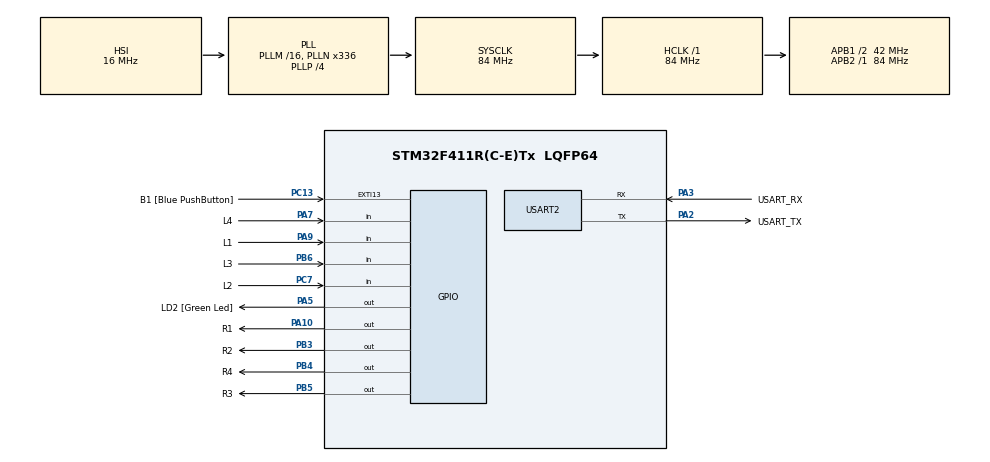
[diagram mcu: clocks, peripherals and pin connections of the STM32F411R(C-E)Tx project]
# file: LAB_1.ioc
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Mcu.Family=STM32F4
Mcu.Name=STM32F411R(C-E)Tx
Mcu.Package=LQFP64
NVIC.PriorityGroup=NVIC_PRIORITYGROUP_0
PA10.GPIO_Label=R1
PA10.Signal=GPIO_Output
PA13.GPIO_Label=TMS
PA13.Mode=Serial_Wire
PA13.Signal=SYS_JTMS-SWDIO
PA14.GPIO_Label=TCK
PA14.Mode=Serial_Wire
PA14.Signal=SYS_JTCK-SWCLK
PA2.GPIO_Label=USART_TX
PA2.Mode=Asynchronous
PA2.Signal=USART2_TX
PA3.GPIO_Label=USART_RX
PA3.Mode=Asynchronous
PA3.Signal=USART2_RX
PA5.GPIO_Label=LD2 [Green Led]
PA5.Signal=GPIO_Output
PA7.GPIO_Label=L4
PA7.GPIO_PuPd=GPIO_PULLUP
PA7.Signal=GPIO_Input
PA9.GPIO_Label=L1
PA9.GPIO_PuPd=GPIO_PULLUP
PA9.Signal=GPIO_Input
PB3.GPIO_Label=R2
PB3.Signal=GPIO_Output
PB4.GPIO_Label=R4
PB4.Signal=GPIO_Output
PB5.GPIO_Label=R3
PB5.Signal=GPIO_Output
PB6.GPIO_Label=L3
PB6.GPIO_PuPd=GPIO_PULLUP
PB6.Signal=GPIO_Input
PC13-ANTI_TAMP.GPIO_Label=B1 [Blue PushButton]
PC13-ANTI_TAMP.GPIO_ModeDefaultEXTI=GPIO_MODE_IT_FALLING
PC13-ANTI_TAMP.Signal=GPXTI13
PC14-OSC32_IN.Mode=LSE-External-Oscillator
PC14-OSC32_IN.Signal=RCC_OSC32_IN
PC15-OSC32_OUT.Mode=LSE-External-Oscillator
PC15-OSC32_OUT.Signal=RCC_OSC32_OUT
PC7.GPIO_Label=L2
PC7.GPIO_PuPd=GPIO_PULLUP
PC7.Signal=GPIO_Input
PH0\ -\ OSC_IN.Mode=HSE-External-Clock-Source
PH0\ -\ OSC_IN.Signal=RCC_OSC_IN
PH1\ -\ OSC_OUT.Mode=HSE-External-Clock-Source
PH1\ -\ OSC_OUT.Signal=RCC_OSC_OUT
ProjectManager.HeapSize=0x200
ProjectManager.StackSize=0x400
ProjectManager.TargetToolchain=STM32CubeIDE
RCC.48MHZClocksFreq_Value=84000000
RCC.AHBFreq_Value=84000000
RCC.APB1CLKDivider=RCC_HCLK_DIV2
RCC.APB1Freq_Value=42000000
RCC.APB1TimFreq_Value=84000000
RCC.APB2Freq_Value=84000000
RCC.APB2TimFreq_Value=84000000
RCC.CortexFreq_Value=84000000
RCC.FLatency-AdvancedSettings=FLASH_LATENCY_2
RCC.HCLKFreq_Value=84000000
RCC.HSE_VALUE=8000000
RCC.HSI_VALUE=16000000
RCC.PLLN=336
RCC.PLLP=RCC_PLLP_DIV4
RCC.SYSCLKFreq_VALUE=84000000
RCC.SYSCLKSource=RCC_SYSCLKSOURCE_PLLCLK
RCC.VCOOutputFreq_Value=336000000
USART2.VirtualMode=VM_ASYNC
board=NUCLEO-F411RE

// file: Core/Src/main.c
/* USER CODE BEGIN Header */
/**
  ******************************************************************************
  * @file           : main.c
  * @brief          : Main program body
  ******************************************************************************
  * @attention
  *
  * Copyright (c) 2023 STMicroelectronics.
  * All rights reserved.
  *
  * This software is licensed under terms that can be found in the LICENSE file
  * in the root directory of this software component.
  * If no LICENSE file comes with this software, it is provided AS-IS.
  *
  ******************************************************************************
  */
/* USER CODE END Header */
#include "main.h"

UART_HandleTypeDef huart2;

/* USER CODE BEGIN PV */
typedef struct _PortPin
{
		GPIO_TypeDef*PORT;
		uint16_t PIN;
}PortPin;

PortPin R[4] =
{
		{GPIOA,GPIO_PIN_10}, //IN PA10 R1
		{GPIOB,GPIO_PIN_3},	//IN PB3 R2
		{GPIOB,GPIO_PIN_5}, //IN PB5 R3
		{GPIOB,GPIO_PIN_4}, //IN PB4 R4

};

PortPin L[4] =
{
		{GPIOA,GPIO_PIN_9}, //IN PA9 L1
		{GPIOC,GPIO_PIN_7},	//IN PC7 L2
		{GPIOB,GPIO_PIN_6}, //IN PB6 L3
		{GPIOA,GPIO_PIN_7}, //IN PA7 L4
};

uint16_t ButtonMatrix = 0;
/* USER CODE END PV */

void SystemClock_Config(void);
static void MX_GPIO_Init(void);
static void MX_USART2_UART_Init(void);
void ReadMatrixButton_1Row();

/* USER CODE BEGIN 0 */
uint16_t Numpad = 0 ;
uint16_t K = 0 ;
uint32_t Prv_Numpad = 0;
static uint64_t Value = 0;
/* USER CODE END 0 */

int main(void)
{

  /* MCU Configuration--------------------------------------------------------*/

  /* Reset of all peripherals, Initializes the Flash interface and the Systick. */
  HAL_Init();

  /* Configure the system clock */
  SystemClock_Config();

  /* Initialize all configured peripherals */
  MX_GPIO_Init();
  MX_USART2_UART_Init();

  /* Infinite loop */
  while (1)
  {

    /* USER CODE BEGIN 3 */
	  static uint32_t timestap = 0;
	  if(HAL_GetTick()>=timestap)
	  {
		  timestap = HAL_GetTick() + 10;
		  ReadMatrixButton_1Row();
	  }

	  K = ButtonMatrix ;
	  switch (K)
	  {
	  	  case 0:
	  		  Numpad = 14;
	  		  break;
		  case 1:
			  Numpad = 7;
			  break;
		  case 2:
			  Numpad = 4;
			  break;
		  case 4:
			  Numpad = 1;
			  break;
		  case 8:
			  Numpad = 0;
			  break;
		  case 16:
			  Numpad = 8;
			  break;
		  case 32:
			  Numpad = 5;
			  break;
		  case 64:
			  Numpad = 2;
			  break;
		  case 256:
			  Numpad = 9;
			  break;
		  case 512:
			  Numpad = 6;
			  break;
		  case 1024:
			  Numpad = 3;
			  break;
		  case 4096:
			  Numpad = 11;	//Clear
			  break;
		  case 8192:
			  Numpad = 12;	//BS<<
			  break;
		  case 32768:
			  Numpad = 13; //OK
			  break;
		  default:
			  break;
	  }

	  if ((Numpad - Prv_Numpad) != 0 && Numpad <= 9)
	  	  {
	  		 Value = (Value*10) + Numpad;
	  	  }
	  Prv_Numpad = Numpad;
	  if (Value == 64340500002 && Numpad == 13)
	  {
		  HAL_GPIO_WritePin(LD2_GPIO_Port, LD2_Pin, GPIO_PIN_SET);
	  }
	  else
	  {
		  HAL_GPIO_WritePin(LD2_GPIO_Port, LD2_Pin, GPIO_PIN_RESET);
	  }

	  if(Numpad == 11)
	  {
		  Value = 0 ;
	  }

  }
  /* USER CODE END 3 */
}

void SystemClock_Config(void)
{
  RCC_OscInitTypeDef RCC_OscInitStruct = {0};
  RCC_ClkInitTypeDef RCC_ClkInitStruct = {0};

  /** Configure the main internal regulator output voltage
  */
  __HAL_RCC_PWR_CLK_ENABLE();
  __HAL_PWR_VOLTAGESCALING_CONFIG(PWR_REGULATOR_VOLTAGE_SCALE1);

  /** Initializes the RCC Oscillators according to the specified parameters
  * in the RCC_OscInitTypeDef structure.
  */
  RCC_OscInitStruct.OscillatorType = RCC_OSCILLATORTYPE_HSI;
  RCC_OscInitStruct.HSIState = RCC_HSI_ON;
  RCC_OscInitStruct.HSICalibrationValue = RCC_HSICALIBRATION_DEFAULT;
  RCC_OscInitStruct.PLL.PLLState = RCC_PLL_ON;
  RCC_OscInitStruct.PLL.PLLSource = RCC_PLLSOURCE_HSI;
  RCC_OscInitStruct.PLL.PLLM = 16;
  RCC_OscInitStruct.PLL.PLLN = 336;
  RCC_OscInitStruct.PLL.PLLP = RCC_PLLP_DIV4;
  RCC_OscInitStruct.PLL.PLLQ = 4;
  if (HAL_RCC_OscConfig(&RCC_OscInitStruct) != HAL_OK)
  {
    Error_Handler();
  }

  /** Initializes the CPU, AHB and APB buses clocks
  */
  RCC_ClkInitStruct.ClockType = RCC_CLOCKTYPE_HCLK|RCC_CLOCKTYPE_SYSCLK
                              |RCC_CLOCKTYPE_PCLK1|RCC_CLOCKTYPE_PCLK2;
  RCC_ClkInitStruct.SYSCLKSource = RCC_SYSCLKSOURCE_PLLCLK;
  RCC_ClkInitStruct.AHBCLKDivider = RCC_SYSCLK_DIV1;
  RCC_ClkInitStruct.APB1CLKDivider = RCC_HCLK_DIV2;
  RCC_ClkInitStruct.APB2CLKDivider = RCC_HCLK_DIV1;

  if (HAL_RCC_ClockConfig(&RCC_ClkInitStruct, FLASH_LATENCY_2) != HAL_OK)
  {
    Error_Handler();
  }
}

static void MX_USART2_UART_Init(void)
{

  huart2.Instance = USART2;
  huart2.Init.BaudRate = 115200;
  huart2.Init.WordLength = UART_WORDLENGTH_8B;
  huart2.Init.StopBits = UART_STOPBITS_1;
  huart2.Init.Parity = UART_PARITY_NONE;
  huart2.Init.Mode = UART_MODE_TX_RX;
  huart2.Init.HwFlowCtl = UART_HWCONTROL_NONE;
  huart2.Init.OverSampling = UART_OVERSAMPLING_16;
  if (HAL_UART_Init(&huart2) != HAL_OK)
  {
    Error_Handler();
  }

}

static void MX_GPIO_Init(void)
{
  GPIO_InitTypeDef GPIO_InitStruct = {0};

  /* GPIO Ports Clock Enable */
  __HAL_RCC_GPIOC_CLK_ENABLE();
  __HAL_RCC_GPIOH_CLK_ENABLE();
  __HAL_RCC_GPIOA_CLK_ENABLE();
  __HAL_RCC_GPIOB_CLK_ENABLE();

  /*Configure GPIO pin Output Level */
  HAL_GPIO_WritePin(GPIOA, LD2_Pin|R1_Pin, GPIO_PIN_RESET);

  /*Configure GPIO pin Output Level */
  HAL_GPIO_WritePin(GPIOB, R2_Pin|R4_Pin|R3_Pin, GPIO_PIN_RESET);

  /*Configure GPIO pin : B1_Pin */
  GPIO_InitStruct.Pin = B1_Pin;
  GPIO_InitStruct.Mode = GPIO_MODE_IT_FALLING;
  GPIO_InitStruct.Pull = GPIO_NOPULL;
  HAL_GPIO_Init(B1_GPIO_Port, &GPIO_InitStruct);

  /*Configure GPIO pins : LD2_Pin R1_Pin */
  GPIO_InitStruct.Pin = LD2_Pin|R1_Pin;
  GPIO_InitStruct.Mode = GPIO_MODE_OUTPUT_PP;
  GPIO_InitStruct.Pull = GPIO_NOPULL;
  GPIO_InitStruct.Speed = GPIO_SPEED_FREQ_LOW;
  HAL_GPIO_Init(GPIOA, &GPIO_InitStruct);

  /*Configure GPIO pins : L4_Pin L1_Pin */
  GPIO_InitStruct.Pin = L4_Pin|L1_Pin;
  GPIO_InitStruct.Mode = GPIO_MODE_INPUT;
  GPIO_InitStruct.Pull = GPIO_PULLUP;
  HAL_GPIO_Init(GPIOA, &GPIO_InitStruct);

  /*Configure GPIO pin : L2_Pin */
  GPIO_InitStruct.Pin = L2_Pin;
  GPIO_InitStruct.Mode = GPIO_MODE_INPUT;
  GPIO_InitStruct.Pull = GPIO_PULLUP;
  HAL_GPIO_Init(L2_GPIO_Port, &GPIO_InitStruct);

  /*Configure GPIO pins : R2_Pin R4_Pin R3_Pin */
  GPIO_InitStruct.Pin = R2_Pin|R4_Pin|R3_Pin;
  GPIO_InitStruct.Mode = GPIO_MODE_OUTPUT_PP;
  GPIO_InitStruct.Pull = GPIO_NOPULL;
  GPIO_InitStruct.Speed = GPIO_SPEED_FREQ_LOW;
  HAL_GPIO_Init(GPIOB, &GPIO_InitStruct);

  /*Configure GPIO pin : L3_Pin */
  GPIO_InitStruct.Pin = L3_Pin;
  GPIO_InitStruct.Mode = GPIO_MODE_INPUT;
  GPIO_InitStruct.Pull = GPIO_PULLUP;
  HAL_GPIO_Init(L3_GPIO_Port, &GPIO_InitStruct);

}

/* USER CODE BEGIN 4 */

void Calculator()
{

}

void ReadMatrixButton_1Row()
{
    static uint8_t X = 0;
    register int i;
    for (i = 0; i < 4; i++)
    {
        if (HAL_GPIO_ReadPin(L[i].PORT, L[i].PIN))
        {
            ButtonMatrix &= ~(1 << (X * 4 + i));
        }
        else
        {
            ButtonMatrix |= 1 << (X * 4 + i);
        }
    }
    HAL_GPIO_WritePin(R[X].PORT, R[X].PIN, 1);
    HAL_GPIO_WritePin(R[(X + 1) % 4].PORT, R[(X + 1) % 4].PIN, 0);
    X++;
    X %= 4;
}

/* USER CODE END 4 */

void Error_Handler(void)
{
  __disable_irq();
  while (1)
  {
  }
}
